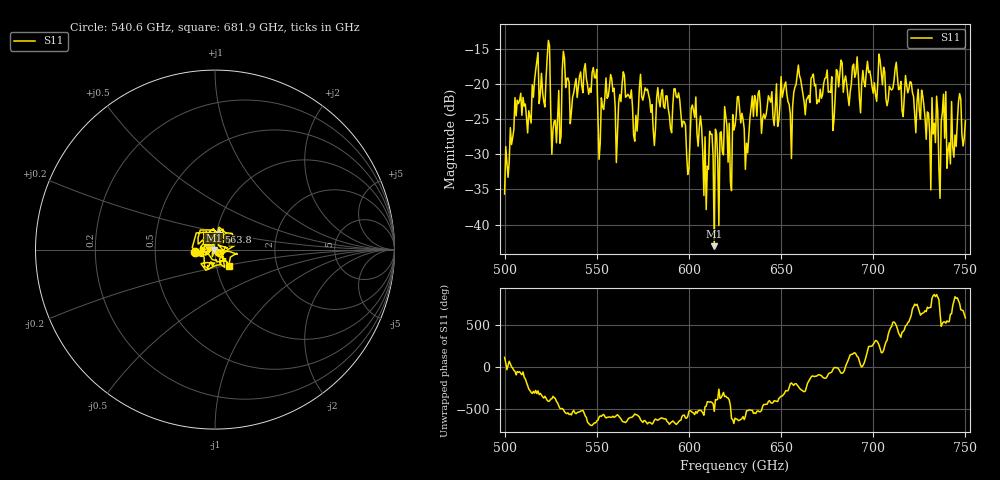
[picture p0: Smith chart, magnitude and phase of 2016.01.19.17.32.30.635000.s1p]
!Created with skrf (http://scikit-rf.org).
# GHz S RI R 50.0
!freq ReS11 ImS11
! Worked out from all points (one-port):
!   401 points, 500 GHz to 750 GHz, reference 50 ohm
!   lowest |S11| = -43.1 dB at 613.8 GHz (marker M1), VSWR 1.01, Z = 49.3 - j0.152 ohm
!   |S11| at or under -10 dB: start of sweep to end of sweep
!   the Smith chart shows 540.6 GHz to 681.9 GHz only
!   S11 on the Smith chart (normalised r, x): 540.6 GHz: 0.80, -0.02; 563.8 GHz: 1.02, +0.20; 681.9 GHz: 1.14, -0.21
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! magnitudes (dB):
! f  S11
! 500 GHz  -35.7
! 506.9 GHz  -22.3
! 513.1 GHz  -23.8
! 516.9 GHz  -18.0
! 523.8 GHz  -13.8
! 526.9 GHz  -25.3
! 531.2 GHz  -18.0
! 540.6 GHz  -18.9
! 551.9 GHz  -28.4
! 562.5 GHz  -21.5
! 563.8 GHz  -20.0
! 571.2 GHz  -24.4
! 574.4 GHz  -21.8
! 580.6 GHz  -26.5
! 593.8 GHz  -22.0
! 599.4 GHz  -32.9
! 602.5 GHz  -23.8
! 609.4 GHz  -37.9
! 613.8 GHz  -43.1
! 625 GHz  -26.0
! 656.2 GHz  -23.2
! 659.4 GHz  -17.3
! 678.1 GHz  -26.6
! 681.9 GHz  -18.5
! 687.5 GHz  -21.1
! 718.8 GHz  -21.3
! 730 GHz  -24.2
! 750 GHz  -25.2
